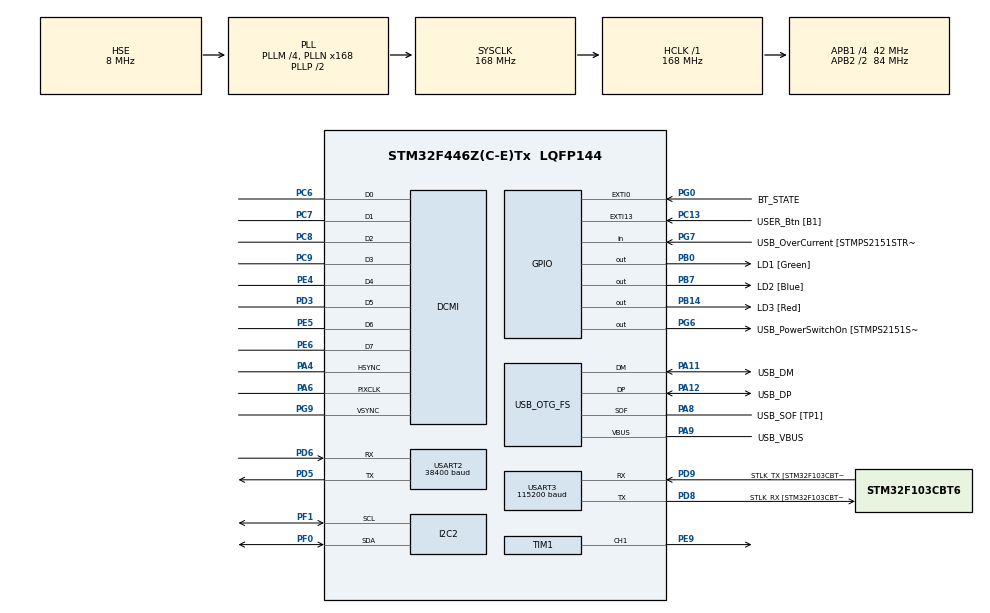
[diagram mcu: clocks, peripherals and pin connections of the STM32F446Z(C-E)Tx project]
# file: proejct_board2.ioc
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DCMI.CaptureRate=DCMI_CR_ALL_FRAME
DCMI.PCKPolarity=DCMI_PCKPOLARITY_RISING
DCMI.VSPolarity=DCMI_VSPOLARITY_HIGH
Dma.DCMI.0.Direction=DMA_PERIPH_TO_MEMORY
Dma.DCMI.0.FIFOMode=DMA_FIFOMODE_ENABLE
Dma.DCMI.0.FIFOThreshold=DMA_FIFO_THRESHOLD_FULL
Dma.DCMI.0.Instance=DMA2_Stream1
Dma.DCMI.0.MemBurst=DMA_MBURST_SINGLE
Dma.DCMI.0.MemDataAlignment=DMA_MDATAALIGN_WORD
Dma.DCMI.0.MemInc=DMA_MINC_ENABLE
Dma.DCMI.0.Mode=DMA_CIRCULAR
Dma.DCMI.0.PeriphBurst=DMA_PBURST_SINGLE
Dma.DCMI.0.PeriphDataAlignment=DMA_PDATAALIGN_WORD
Dma.DCMI.0.PeriphInc=DMA_PINC_DISABLE
Dma.DCMI.0.Priority=DMA_PRIORITY_VERY_HIGH
Dma.Request0=DCMI
Dma.Request1=USART3_TX
Dma.Request2=USART2_TX
Dma.Request3=USART2_RX
Dma.USART2_RX.3.Direction=DMA_PERIPH_TO_MEMORY
Dma.USART2_RX.3.FIFOMode=DMA_FIFOMODE_DISABLE
Dma.USART2_RX.3.Instance=DMA1_Stream5
Dma.USART2_RX.3.MemDataAlignment=DMA_MDATAALIGN_BYTE
Dma.USART2_RX.3.MemInc=DMA_MINC_ENABLE
Dma.USART2_RX.3.Mode=DMA_NORMAL
Dma.USART2_RX.3.PeriphDataAlignment=DMA_PDATAALIGN_BYTE
Dma.USART2_RX.3.PeriphInc=DMA_PINC_DISABLE
Dma.USART2_RX.3.Priority=DMA_PRIORITY_HIGH
Dma.USART2_TX.2.Direction=DMA_MEMORY_TO_PERIPH
Dma.USART2_TX.2.FIFOMode=DMA_FIFOMODE_DISABLE
Dma.USART2_TX.2.Instance=DMA1_Stream6
Dma.USART2_TX.2.MemDataAlignment=DMA_MDATAALIGN_BYTE
Dma.USART2_TX.2.MemInc=DMA_MINC_ENABLE
Dma.USART2_TX.2.Mode=DMA_NORMAL
Dma.USART2_TX.2.PeriphDataAlignment=DMA_PDATAALIGN_BYTE
Dma.USART2_TX.2.PeriphInc=DMA_PINC_DISABLE
Dma.USART2_TX.2.Priority=DMA_PRIORITY_VERY_HIGH
Dma.USART3_TX.1.Direction=DMA_MEMORY_TO_PERIPH
Dma.USART3_TX.1.FIFOMode=DMA_FIFOMODE_ENABLE
Dma.USART3_TX.1.FIFOThreshold=DMA_FIFO_THRESHOLD_FULL
Dma.USART3_TX.1.Instance=DMA1_Stream3
Dma.USART3_TX.1.MemBurst=DMA_MBURST_SINGLE
Dma.USART3_TX.1.MemDataAlignment=DMA_MDATAALIGN_BYTE
Dma.USART3_TX.1.MemInc=DMA_MINC_ENABLE
Dma.USART3_TX.1.Mode=DMA_NORMAL
Dma.USART3_TX.1.PeriphBurst=DMA_PBURST_SINGLE
Dma.USART3_TX.1.PeriphDataAlignment=DMA_PDATAALIGN_BYTE
Dma.USART3_TX.1.PeriphInc=DMA_PINC_DISABLE
Dma.USART3_TX.1.Priority=DMA_PRIORITY_MEDIUM
Mcu.Family=STM32F4
Mcu.Name=STM32F446Z(C-E)Tx
Mcu.Package=LQFP144
NVIC.DCMI_IRQn=true\:0\:0\:false\:false\:true\:true\:true\:true
NVIC.DMA1_Stream3_IRQn=true\:0\:0\:false\:false\:true\:false\:true\:true
NVIC.DMA1_Stream5_IRQn=true\:0\:0\:false\:false\:true\:false\:true\:true
NVIC.DMA1_Stream6_IRQn=true\:0\:0\:false\:false\:true\:false\:true\:true
NVIC.DMA2_Stream1_IRQn=true\:0\:0\:false\:false\:true\:false\:true\:true
NVIC.EXTI0_IRQn=true\:0\:0\:false\:false\:true\:true\:true\:true
NVIC.EXTI15_10_IRQn=true\:0\:0\:false\:false\:true\:true\:true\:true
NVIC.PriorityGroup=NVIC_PRIORITYGROUP_4
NVIC.TIM6_DAC_IRQn=true\:0\:0\:false\:false\:true\:true\:true\:true
NVIC.USART2_IRQn=true\:0\:0\:false\:false\:true\:true\:true\:true
NVIC.USART3_IRQn=true\:0\:0\:false\:false\:true\:true\:true\:true
PA10.GPIO_Label=USB_ID
PA10.Signal=USB_OTG_FS_ID
PA11.GPIO_Label=USB_DM
PA11.Mode=Device_Only
PA11.Signal=USB_OTG_FS_DM
PA12.GPIO_Label=USB_DP
PA12.Mode=Device_Only
PA12.Signal=USB_OTG_FS_DP
PA13.GPIO_Label=TMS
PA13.Mode=Serial_Wire
PA13.Signal=SYS_JTMS-SWDIO
PA14.GPIO_Label=TCK
PA14.Mode=Serial_Wire
PA14.Signal=SYS_JTCK-SWCLK
PA4.Mode=Slave_8_bits_External_Synchro
PA4.Signal=DCMI_HSYNC
PA6.Mode=Slave_8_bits_External_Synchro
PA6.Signal=DCMI_PIXCLK
PA8.GPIO_Label=USB_SOF [TP1]
PA8.Mode=Activate_SOF_FS
PA8.Signal=USB_OTG_FS_SOF
PA9.GPIO_Label=USB_VBUS
PA9.Mode=Activate_VBUS
PA9.Signal=USB_OTG_FS_VBUS
PB0.GPIO_Label=LD1 [Green]
PB0.Signal=GPIO_Output
PB14.GPIO_Label=LD3 [Red]
PB14.Signal=GPIO_Output
PB7.GPIO_Label=LD2 [Blue]
PB7.Signal=GPIO_Output
PC13.GPIO_Label=USER_Btn [B1]
PC13.Signal=GPXTI13
PC14-OSC32_IN.Mode=LSE-External-Oscillator
PC14-OSC32_IN.Signal=RCC_OSC32_IN
PC15-OSC32_OUT.Mode=LSE-External-Oscillator
PC15-OSC32_OUT.Signal=RCC_OSC32_OUT
PC6.Mode=Slave_8_bits_External_Synchro
PC6.Signal=DCMI_D0
PC7.Mode=Slave_8_bits_External_Synchro
PC7.Signal=DCMI_D1
PC8.Mode=Slave_8_bits_External_Synchro
PC8.Signal=DCMI_D2
PC9.Mode=Slave_8_bits_External_Synchro
PC9.Signal=DCMI_D3
PD3.Mode=Slave_8_bits_External_Synchro
PD3.Signal=DCMI_D5
PD5.Mode=Asynchronous
PD5.Signal=USART2_TX
PD6.Mode=Asynchronous
PD6.Signal=USART2_RX
PD8.GPIO_Label=STLK_RX [STM32F103CBT6_PA3]
PD8.Mode=Asynchronous
PD8.Signal=USART3_TX
PD9.GPIO_Label=STLK_TX [STM32F103CBT6_PA2]
PD9.Mode=Asynchronous
PD9.Signal=USART3_RX
PE4.Mode=Slave_8_bits_External_Synchro
PE4.Signal=DCMI_D4
PE5.Mode=Slave_8_bits_External_Synchro
PE5.Signal=DCMI_D6
PE6.Mode=Slave_8_bits_External_Synchro
PE6.Signal=DCMI_D7
PE9.Signal=S_TIM1_CH1
PF0.Mode=I2C
PF0.Signal=I2C2_SDA
PF1.Mode=I2C
PF1.Signal=I2C2_SCL
PG0.GPIO_Label=BT_STATE
PG0.GPIO_ModeDefaultEXTI=GPIO_MODE_IT_FALLING
PG0.Signal=GPXTI0
PG6.GPIO_Label=USB_PowerSwitchOn [STMPS2151STR_EN]
PG6.Signal=GPIO_Output
PG7.GPIO_Label=USB_OverCurrent [STMPS2151STR_FAULT]
PG7.Signal=GPIO_Input
PG9.Mode=Slave_8_bits_External_Synchro
PG9.Signal=DCMI_VSYNC
PH0-OSC_IN.GPIO_Label=MCO [STM32F103CBT6_PA8]
PH0-OSC_IN.Mode=HSE-External-Clock-Source
PH0-OSC_IN.Signal=RCC_OSC_IN
PH1-OSC_OUT.Mode=HSE-External-Clock-Source
PH1-OSC_OUT.Signal=RCC_OSC_OUT
ProjectManager.HeapSize=0x200
ProjectManager.StackSize=0x400
ProjectManager.TargetToolchain=STM32CubeIDE
RCC.48MHZClocksFreq_Value=24000000
RCC.AHBFreq_Value=168000000
RCC.APB1CLKDivider=RCC_HCLK_DIV4
RCC.APB1Freq_Value=42000000
RCC.APB1TimFreq_Value=84000000
RCC.APB2CLKDivider=RCC_HCLK_DIV2
RCC.APB2Freq_Value=84000000
RCC.APB2TimFreq_Value=168000000
RCC.CortexFreq_Value=168000000
RCC.HCLKFreq_Value=168000000
RCC.HSE_VALUE=8000000
RCC.HSI_VALUE=16000000
RCC.PLLM=4
RCC.PLLMUL=RCC_PLL_MUL9
RCC.PLLN=168
RCC.PLLQ=7
RCC.PRESCALERUSB=RCC_USBCLKSOURCE_PLL_DIV1_5
RCC.SYSCLKFreq_VALUE=168000000
RCC.SYSCLKSource=RCC_SYSCLKSOURCE_PLLCLK
RCC.SYSCLKSourceVirtual=RCC_SYSCLKSOURCE_PLLCLK
RCC.USBFreq_Value=48000000
RCC.VCOOutputFreq_Value=336000000
SH.S_TIM1_CH1.0=TIM1_CH1,PWM Generation1 CH1
TIM1.AutoReloadPreload=TIM_AUTORELOAD_PRELOAD_ENABLE
TIM1.Channel-PWM\ Generation1\ CH1=TIM_CHANNEL_1
TIM1.Period=20
TIM1.Pulse-PWM\ Generation1\ CH1=10
USART2.BaudRate=38400
USART2.VirtualMode=VM_ASYNC
USART3.BaudRate=115200
USART3.Mode=MODE_TX_RX
USART3.VirtualMode=VM_ASYNC
USB_OTG_FS.VirtualMode=Device_Only
VP_TIM6_VS_ClockSourceINT.Mode=Enable_Timer
board=NUCLEO-F446ZE

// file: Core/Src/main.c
/* USER CODE BEGIN Header */
/**
  ******************************************************************************
  * @file           : main.c
  * @brief          : Main program body
  ******************************************************************************
  * @attention
  *
  * Copyright (c) 2024 STMicroelectronics.
  * All rights reserved.
  *
  * This software is licensed under terms that can be found in the LICENSE file
  * in the root directory of this software component.
  * If no LICENSE file comes with this software, it is provided AS-IS.
  *
  ******************************************************************************
  */
/* USER CODE END Header */
#include "main.h"

/* USER CODE BEGIN Includes */
#include "ov7670.h"
#include "string.h"
#include "stdio.h"
#include "hc-05.h"
/* USER CODE END Includes */

/* USER CODE BEGIN PD */
#define PREAMBLE "\r\n!START!\r\n"
#define DELTA_PREAMBLE "\r\n!DELTA!\r\n"
#define SUFFIX "!END!\r\n"
/* USER CODE END PD */

DCMI_HandleTypeDef hdcmi;
DMA_HandleTypeDef hdma_dcmi;

I2C_HandleTypeDef hi2c2;

TIM_HandleTypeDef htim1;
TIM_HandleTypeDef htim6;

UART_HandleTypeDef huart2;
UART_HandleTypeDef huart3;
DMA_HandleTypeDef hdma_usart2_tx;
DMA_HandleTypeDef hdma_usart2_rx;
DMA_HandleTypeDef hdma_usart3_tx;

PCD_HandleTypeDef hpcd_USB_OTG_FS;

/* USER CODE BEGIN PV */
uint8_t raw_buff[2 * IMG_ROWS * IMG_COLS];
uint8_t intermediate_buff[IMG_ROWS][IMG_COLS];
uint8_t previous_buff[IMG_ROWS][IMG_COLS];
uint8_t video_buff[sizeof(PREAMBLE) + IMG_ROWS * IMG_COLS + sizeof(SUFFIX)];

uint8_t dma_flag = 0;
uint8_t button_flag = 0;
/* USER CODE END PV */

void SystemClock_Config(void);
static void MX_GPIO_Init(void);
static void MX_DMA_Init(void);
static void MX_DCMI_Init(void);
static void MX_USART3_UART_Init(void);
static void MX_USB_OTG_FS_PCD_Init(void);
static void MX_I2C2_Init(void);
static void MX_TIM1_Init(void);
static void MX_TIM6_Init(void);
static void MX_USART2_UART_Init(void);
/* USER CODE BEGIN PFP */
void extraTruncatedVideoMode();

uint8_t findNumberOfRepeatedPixels(uint8_t startRow, uint8_t startCol);
void transferRawBufferToIntermediate();
int rle(int bufferIndex);
/* USER CODE END PFP */

int main(void)
{

  /* MCU Configuration--------------------------------------------------------*/

  /* Reset of all peripherals, Initializes the Flash interface and the Systick. */
  HAL_Init();

  /* Configure the system clock */
  SystemClock_Config();

  /* Initialize all configured peripherals */
  MX_GPIO_Init();
  MX_DMA_Init();
  MX_DCMI_Init();
  MX_USART3_UART_Init();
  MX_USB_OTG_FS_PCD_Init();
  MX_I2C2_Init();
  MX_TIM1_Init();
  MX_TIM6_Init();
  MX_USART2_UART_Init();
  /* USER CODE BEGIN 2 */
  HAL_TIM_PWM_Start(&htim1, TIM_CHANNEL_1);
  ov7670_init();
  hc05Init(&huart2, &huart3);

  //Establish BT connection
    while(!checkConnection()) {
  	  HAL_Delay(0);
    }

  extraTruncatedVideoMode();
  /* USER CODE END 2 */

  /* Infinite loop */
  while (1)
  {

  }
}

void SystemClock_Config(void)
{
  RCC_OscInitTypeDef RCC_OscInitStruct = {0};
  RCC_ClkInitTypeDef RCC_ClkInitStruct = {0};

  /** Configure the main internal regulator output voltage
  */
  __HAL_RCC_PWR_CLK_ENABLE();
  __HAL_PWR_VOLTAGESCALING_CONFIG(PWR_REGULATOR_VOLTAGE_SCALE1);

  /** Initializes the RCC Oscillators according to the specified parameters
  * in the RCC_OscInitTypeDef structure.
  */
  RCC_OscInitStruct.OscillatorType = RCC_OSCILLATORTYPE_HSE;
  RCC_OscInitStruct.HSEState = RCC_HSE_BYPASS;
  RCC_OscInitStruct.PLL.PLLState = RCC_PLL_ON;
  RCC_OscInitStruct.PLL.PLLSource = RCC_PLLSOURCE_HSE;
  RCC_OscInitStruct.PLL.PLLM = 4;
  RCC_OscInitStruct.PLL.PLLN = 168;
  RCC_OscInitStruct.PLL.PLLP = RCC_PLLP_DIV2;
  RCC_OscInitStruct.PLL.PLLQ = 7;
  RCC_OscInitStruct.PLL.PLLR = 2;
  if (HAL_RCC_OscConfig(&RCC_OscInitStruct) != HAL_OK)
  {
    Error_Handler();
  }

  /** Initializes the CPU, AHB and APB buses clocks
  */
  RCC_ClkInitStruct.ClockType = RCC_CLOCKTYPE_HCLK|RCC_CLOCKTYPE_SYSCLK
                              |RCC_CLOCKTYPE_PCLK1|RCC_CLOCKTYPE_PCLK2;
  RCC_ClkInitStruct.SYSCLKSource = RCC_SYSCLKSOURCE_PLLCLK;
  RCC_ClkInitStruct.AHBCLKDivider = RCC_SYSCLK_DIV1;
  RCC_ClkInitStruct.APB1CLKDivider = RCC_HCLK_DIV4;
  RCC_ClkInitStruct.APB2CLKDivider = RCC_HCLK_DIV2;

  if (HAL_RCC_ClockConfig(&RCC_ClkInitStruct, FLASH_LATENCY_5) != HAL_OK)
  {
    Error_Handler();
  }
}

static void MX_DCMI_Init(void)
{

  hdcmi.Instance = DCMI;
  hdcmi.Init.SynchroMode = DCMI_SYNCHRO_HARDWARE;
  hdcmi.Init.PCKPolarity = DCMI_PCKPOLARITY_RISING;
  hdcmi.Init.VSPolarity = DCMI_VSPOLARITY_HIGH;
  hdcmi.Init.HSPolarity = DCMI_HSPOLARITY_LOW;
  hdcmi.Init.CaptureRate = DCMI_CR_ALL_FRAME;
  hdcmi.Init.ExtendedDataMode = DCMI_EXTEND_DATA_8B;
  hdcmi.Init.JPEGMode = DCMI_JPEG_DISABLE;
  hdcmi.Init.ByteSelectMode = DCMI_BSM_ALL;
  hdcmi.Init.ByteSelectStart = DCMI_OEBS_ODD;
  hdcmi.Init.LineSelectMode = DCMI_LSM_ALL;
  hdcmi.Init.LineSelectStart = DCMI_OELS_ODD;
  if (HAL_DCMI_Init(&hdcmi) != HAL_OK)
  {
    Error_Handler();
  }

}

static void MX_I2C2_Init(void)
{

  hi2c2.Instance = I2C2;
  hi2c2.Init.ClockSpeed = 100000;
  hi2c2.Init.DutyCycle = I2C_DUTYCYCLE_2;
  hi2c2.Init.OwnAddress1 = 0;
  hi2c2.Init.AddressingMode = I2C_ADDRESSINGMODE_7BIT;
  hi2c2.Init.DualAddressMode = I2C_DUALADDRESS_DISABLE;
  hi2c2.Init.OwnAddress2 = 0;
  hi2c2.Init.GeneralCallMode = I2C_GENERALCALL_DISABLE;
  hi2c2.Init.NoStretchMode = I2C_NOSTRETCH_DISABLE;
  if (HAL_I2C_Init(&hi2c2) != HAL_OK)
  {
    Error_Handler();
  }

}

static void MX_TIM1_Init(void)
{

  TIM_MasterConfigTypeDef sMasterConfig = {0};
  TIM_OC_InitTypeDef sConfigOC = {0};
  TIM_BreakDeadTimeConfigTypeDef sBreakDeadTimeConfig = {0};

  htim1.Instance = TIM1;
  htim1.Init.Prescaler = 0;
  htim1.Init.CounterMode = TIM_COUNTERMODE_UP;
  htim1.Init.Period = 20;
  htim1.Init.ClockDivision = TIM_CLOCKDIVISION_DIV1;
  htim1.Init.RepetitionCounter = 0;
  htim1.Init.AutoReloadPreload = TIM_AUTORELOAD_PRELOAD_ENABLE;
  if (HAL_TIM_PWM_Init(&htim1) != HAL_OK)
  {
    Error_Handler();
  }
  sMasterConfig.MasterOutputTrigger = TIM_TRGO_RESET;
  sMasterConfig.MasterSlaveMode = TIM_MASTERSLAVEMODE_DISABLE;
  if (HAL_TIMEx_MasterConfigSynchronization(&htim1, &sMasterConfig) != HAL_OK)
  {
    Error_Handler();
  }
  sConfigOC.OCMode = TIM_OCMODE_PWM1;
  sConfigOC.Pulse = 10;
  sConfigOC.OCPolarity = TIM_OCPOLARITY_HIGH;
  sConfigOC.OCNPolarity = TIM_OCNPOLARITY_HIGH;
  sConfigOC.OCFastMode = TIM_OCFAST_DISABLE;
  sConfigOC.OCIdleState = TIM_OCIDLESTATE_RESET;
  sConfigOC.OCNIdleState = TIM_OCNIDLESTATE_RESET;
  if (HAL_TIM_PWM_ConfigChannel(&htim1, &sConfigOC, TIM_CHANNEL_1) != HAL_OK)
  {
    Error_Handler();
  }
  sBreakDeadTimeConfig.OffStateRunMode = TIM_OSSR_DISABLE;
  sBreakDeadTimeConfig.OffStateIDLEMode = TIM_OSSI_DISABLE;
  sBreakDeadTimeConfig.LockLevel = TIM_LOCKLEVEL_OFF;
  sBreakDeadTimeConfig.DeadTime = 0;
  sBreakDeadTimeConfig.BreakState = TIM_BREAK_DISABLE;
  sBreakDeadTimeConfig.BreakPolarity = TIM_BREAKPOLARITY_HIGH;
  sBreakDeadTimeConfig.AutomaticOutput = TIM_AUTOMATICOUTPUT_DISABLE;
  if (HAL_TIMEx_ConfigBreakDeadTime(&htim1, &sBreakDeadTimeConfig) != HAL_OK)
  {
    Error_Handler();
  }
  HAL_TIM_MspPostInit(&htim1);

}

static void MX_TIM6_Init(void)
{

  TIM_MasterConfigTypeDef sMasterConfig = {0};

  htim6.Instance = TIM6;
  htim6.Init.Prescaler = 0;
  htim6.Init.CounterMode = TIM_COUNTERMODE_UP;
  htim6.Init.Period = 65535;
  htim6.Init.AutoReloadPreload = TIM_AUTORELOAD_PRELOAD_DISABLE;
  if (HAL_TIM_Base_Init(&htim6) != HAL_OK)
  {
    Error_Handler();
  }
  sMasterConfig.MasterOutputTrigger = TIM_TRGO_RESET;
  sMasterConfig.MasterSlaveMode = TIM_MASTERSLAVEMODE_DISABLE;
  if (HAL_TIMEx_MasterConfigSynchronization(&htim6, &sMasterConfig) != HAL_OK)
  {
    Error_Handler();
  }

}

static void MX_USART2_UART_Init(void)
{

  huart2.Instance = USART2;
  huart2.Init.BaudRate = 38400;
  huart2.Init.WordLength = UART_WORDLENGTH_8B;
  huart2.Init.StopBits = UART_STOPBITS_1;
  huart2.Init.Parity = UART_PARITY_NONE;
  huart2.Init.Mode = UART_MODE_TX_RX;
  huart2.Init.HwFlowCtl = UART_HWCONTROL_NONE;
  huart2.Init.OverSampling = UART_OVERSAMPLING_16;
  if (HAL_UART_Init(&huart2) != HAL_OK)
  {
    Error_Handler();
  }

}

static void MX_USART3_UART_Init(void)
{

  huart3.Instance = USART3;
  huart3.Init.BaudRate = 115200;
  huart3.Init.WordLength = UART_WORDLENGTH_8B;
  huart3.Init.StopBits = UART_STOPBITS_1;
  huart3.Init.Parity = UART_PARITY_NONE;
  huart3.Init.Mode = UART_MODE_TX_RX;
  huart3.Init.HwFlowCtl = UART_HWCONTROL_NONE;
  huart3.Init.OverSampling = UART_OVERSAMPLING_16;
  if (HAL_UART_Init(&huart3) != HAL_OK)
  {
    Error_Handler();
  }

}

static void MX_USB_OTG_FS_PCD_Init(void)
{

  hpcd_USB_OTG_FS.Instance = USB_OTG_FS;
  hpcd_USB_OTG_FS.Init.dev_endpoints = 6;
  hpcd_USB_OTG_FS.Init.speed = PCD_SPEED_FULL;
  hpcd_USB_OTG_FS.Init.dma_enable = DISABLE;
  hpcd_USB_OTG_FS.Init.phy_itface = PCD_PHY_EMBEDDED;
  hpcd_USB_OTG_FS.Init.Sof_enable = ENABLE;
  hpcd_USB_OTG_FS.Init.low_power_enable = DISABLE;
  hpcd_USB_OTG_FS.Init.lpm_enable = DISABLE;
  hpcd_USB_OTG_FS.Init.vbus_sensing_enable = ENABLE;
  hpcd_USB_OTG_FS.Init.use_dedicated_ep1 = DISABLE;
  if (HAL_PCD_Init(&hpcd_USB_OTG_FS) != HAL_OK)
  {
    Error_Handler();
  }

}

static void MX_DMA_Init(void)
{

  /* DMA controller clock enable */
  __HAL_RCC_DMA2_CLK_ENABLE();
  __HAL_RCC_DMA1_CLK_ENABLE();

  /* DMA interrupt init */
  /* DMA1_Stream3_IRQn interrupt configuration */
  HAL_NVIC_SetPriority(DMA1_Stream3_IRQn, 0, 0);
  HAL_NVIC_EnableIRQ(DMA1_Stream3_IRQn);
  /* DMA1_Stream5_IRQn interrupt configuration */
  HAL_NVIC_SetPriority(DMA1_Stream5_IRQn, 0, 0);
  HAL_NVIC_EnableIRQ(DMA1_Stream5_IRQn);
  /* DMA1_Stream6_IRQn interrupt configuration */
  HAL_NVIC_SetPriority(DMA1_Stream6_IRQn, 0, 0);
  HAL_NVIC_EnableIRQ(DMA1_Stream6_IRQn);
  /* DMA2_Stream1_IRQn interrupt configuration */
  HAL_NVIC_SetPriority(DMA2_Stream1_IRQn, 0, 0);
  HAL_NVIC_EnableIRQ(DMA2_Stream1_IRQn);

}

static void MX_GPIO_Init(void)
{
  GPIO_InitTypeDef GPIO_InitStruct = {0};

  /* GPIO Ports Clock Enable */
  __HAL_RCC_GPIOE_CLK_ENABLE();
  __HAL_RCC_GPIOC_CLK_ENABLE();
  __HAL_RCC_GPIOF_CLK_ENABLE();
  __HAL_RCC_GPIOH_CLK_ENABLE();
  __HAL_RCC_GPIOA_CLK_ENABLE();
  __HAL_RCC_GPIOB_CLK_ENABLE();
  __HAL_RCC_GPIOG_CLK_ENABLE();
  __HAL_RCC_GPIOD_CLK_ENABLE();

  /*Configure GPIO pin Output Level */
  HAL_GPIO_WritePin(GPIOB, LD1_Pin|LD3_Pin|LD2_Pin, GPIO_PIN_RESET);

  /*Configure GPIO pin Output Level */
  HAL_GPIO_WritePin(USB_PowerSwitchOn_GPIO_Port, USB_PowerSwitchOn_Pin, GPIO_PIN_RESET);

  /*Configure GPIO pin : USER_Btn_Pin */
  GPIO_InitStruct.Pin = USER_Btn_Pin;
  GPIO_InitStruct.Mode = GPIO_MODE_IT_RISING;
  GPIO_InitStruct.Pull = GPIO_NOPULL;
  HAL_GPIO_Init(USER_Btn_GPIO_Port, &GPIO_InitStruct);

  /*Configure GPIO pins : LD1_Pin LD3_Pin LD2_Pin */
  GPIO_InitStruct.Pin = LD1_Pin|LD3_Pin|LD2_Pin;
  GPIO_InitStruct.Mode = GPIO_MODE_OUTPUT_PP;
  GPIO_InitStruct.Pull = GPIO_NOPULL;
  GPIO_InitStruct.Speed = GPIO_SPEED_FREQ_LOW;
  HAL_GPIO_Init(GPIOB, &GPIO_InitStruct);

  /*Configure GPIO pin : BT_STATE_Pin */
  GPIO_InitStruct.Pin = BT_STATE_Pin;
  GPIO_InitStruct.Mode = GPIO_MODE_IT_FALLING;
  GPIO_InitStruct.Pull = GPIO_NOPULL;
  HAL_GPIO_Init(BT_STATE_GPIO_Port, &GPIO_InitStruct);

  /*Configure GPIO pin : USB_PowerSwitchOn_Pin */
  GPIO_InitStruct.Pin = USB_PowerSwitchOn_Pin;
  GPIO_InitStruct.Mode = GPIO_MODE_OUTPUT_PP;
  GPIO_InitStruct.Pull = GPIO_NOPULL;
  GPIO_InitStruct.Speed = GPIO_SPEED_FREQ_LOW;
  HAL_GPIO_Init(USB_PowerSwitchOn_GPIO_Port, &GPIO_InitStruct);

  /*Configure GPIO pin : USB_OverCurrent_Pin */
  GPIO_InitStruct.Pin = USB_OverCurrent_Pin;
  GPIO_InitStruct.Mode = GPIO_MODE_INPUT;
  GPIO_InitStruct.Pull = GPIO_NOPULL;
  HAL_GPIO_Init(USB_OverCurrent_GPIO_Port, &GPIO_InitStruct);

  /* EXTI interrupt init*/
  HAL_NVIC_SetPriority(EXTI0_IRQn, 0, 0);
  HAL_NVIC_EnableIRQ(EXTI0_IRQn);

  HAL_NVIC_SetPriority(EXTI15_10_IRQn, 0, 0);
  HAL_NVIC_EnableIRQ(EXTI15_10_IRQn);

}

/* USER CODE BEGIN 4 */
void extraTruncatedVideoMode() {
	uint16_t bufferIndex= 0;
	for (int index = 0; index < sizeof(PREAMBLE); index++) {
		video_buff[bufferIndex++] = PREAMBLE[index];
	}

	//Loop forever
	while(1) {
		//Reset
		HAL_GPIO_WritePin(GPIOB, LD3_Pin|LD2_Pin|LD1_Pin, GPIO_PIN_RESET);
		dma_flag = 0;

		ov7670_capture(raw_buff);

		//Wait for capture to finish
		while (!dma_flag) {
			HAL_Delay(0);
		}

		//Extract grey scale
		transferRawBufferToIntermediate();

		//RLE and place between pre-amble and suffix
		bufferIndex = rle(sizeof(PREAMBLE));

		//Append suffix
		for (int index = 0; index < sizeof(SUFFIX); index++) {
			video_buff[bufferIndex] = SUFFIX[index];
			bufferIndex++;
		}

		bufferIndex--;

		sendData(video_buff, bufferIndex);
		waitForNextFrameRequest();
	}

}

//Returns the number of pixels that are consecutive, beginning search at [startRow, startCol]
uint8_t findNumberOfRepeatedPixels(uint8_t startRow, uint8_t startCol) {
	uint8_t count = 0;
	uint8_t prevColour = intermediate_buff[startRow][startCol];
	for (int columnIndex = startCol; columnIndex < IMG_COLS && count < 15; columnIndex++) {
		if (intermediate_buff[startRow][columnIndex] == prevColour) {
			count++;
		} else {
			break;
		}
	}
	return count;
}

//Extracts grey-scale data from the raw buffer to the intermediate buffer and formats it in a 2D array
void transferRawBufferToIntermediate() {
	int rowIndex = 0;
	int colIndex = 0;
	for (int rawIndex = 1; rawIndex < 2*IMG_ROWS*IMG_COLS; rawIndex++) {
		if (rawIndex % 2 != 0) {
			intermediate_buff[rowIndex][colIndex++] = raw_buff[rawIndex] & 0xF0;
			if (colIndex == IMG_COLS) {
				rowIndex++;
				colIndex = 0;
			}
		}
	}
}

//Compresses contents of intermediate buff using RLE and places data in the output buffer beginning at bufferIndex
int rle(int bufferIndex) {
	for (int rowIndex = 0; rowIndex < IMG_ROWS; rowIndex++) {
		for (int colIndex = 0; colIndex < IMG_COLS;) {
			uint8_t repetitions = findNumberOfRepeatedPixels(rowIndex, colIndex);

			video_buff[bufferIndex++] = intermediate_buff[rowIndex][colIndex] | (repetitions & 0xF);

			colIndex += repetitions;
		}
	}
	return bufferIndex;
}
/* USER CODE END 4 */

void Error_Handler(void)
{
  __disable_irq();
  while (1)
  {
  }
}
